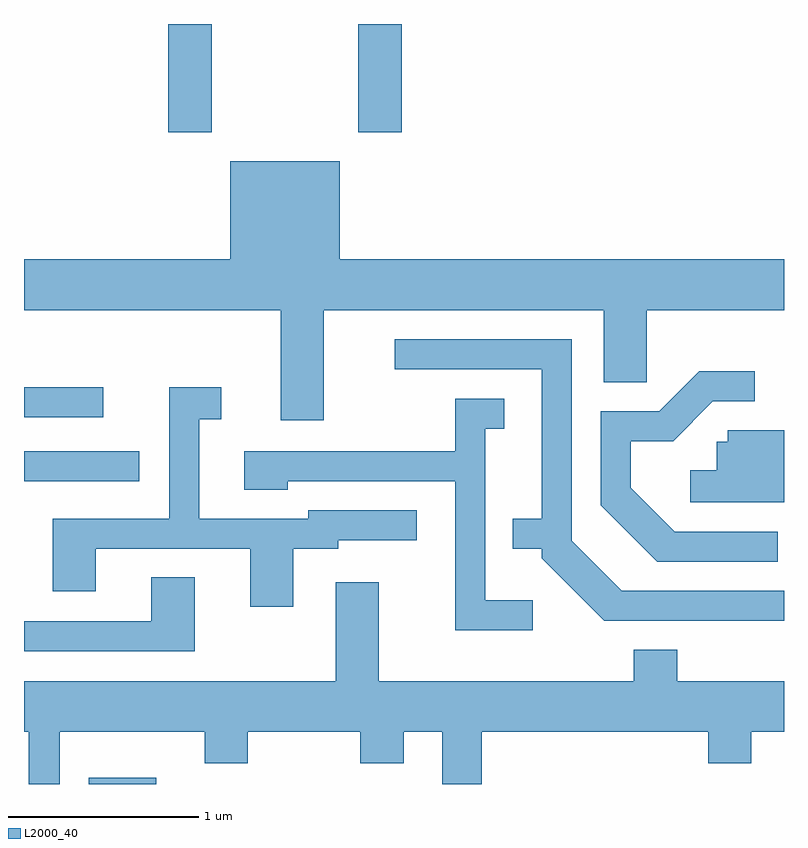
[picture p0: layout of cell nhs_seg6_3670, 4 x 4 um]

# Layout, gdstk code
import gdstk
lib = gdstk.Library(unit=1e-6, precision=1e-09)
def R(c, l, rs):  # rectangles x0, y0, x1, y1
    for r in rs: c.add(gdstk.rectangle(r[:2], r[2:], *l))
def P(c, l, *ps):  # polygons
    for p in ps: c.add(gdstk.Polygon(p, *l))
L2000_40 = (2000, 40)

nhs_seg6_3670 = lib.new_cell('nhs_seg6_3670')
R(nhs_seg6_3670, L2000_40, [(295.951,1594.162,296.308,1594.194), (295.611,1595.756,296.218,1595.914), (295.611,1596.091,296.028,1596.249), (296.371,1597.591,296.599,1598.162), (297.371,1597.591,297.599,1598.162)])
P(nhs_seg6_3670, L2000_40, [(297.189,1596.656),(298.661,1596.656),(298.661,1596.276),(298.889,1596.276),(298.889,1596.656),(299.611,1596.656),(299.611,1596.924),(297.274,1596.924),(297.274,1597.439),(296.696,1597.439),(296.696,1596.924),(295.611,1596.924),(295.611,1596.656),(296.961,1596.656),(296.961,1596.076),(297.189,1596.076)],
  [(299.611,1595.179),(298.757,1595.179),(298.494,1595.442),(298.494,1596.504),(297.563,1596.504),(297.563,1596.346),(298.336,1596.346),(298.336,1595.559),(298.183,1595.559),(298.183,1595.401),(298.336,1595.401),(298.336,1595.349),(298.664,1595.021),(299.611,1595.021)],
  [(299.578,1595.489),(299.037,1595.489),(298.804,1595.722),(298.804,1595.966),(299.027,1595.966),(299.237,1596.176),(299.458,1596.176),(299.458,1596.334),(299.164,1596.334),(298.954,1596.124),(298.646,1596.124),(298.646,1595.629),(298.944,1595.331),(299.578,1595.331)],
  [(297.029,1595.401),(297.264,1595.401),(297.264,1595.446),(297.678,1595.446),(297.678,1595.604),(297.106,1595.604),(297.106,1595.559),(296.534,1595.559),(296.534,1596.081),(296.648,1596.081),(296.648,1596.249),(296.376,1596.249),(296.376,1595.559),(295.761,1595.559),(295.761,1595.176),(295.989,1595.176),(295.989,1595.401),(296.801,1595.401),(296.801,1595.096),(297.029,1595.096)],
  [(298.288,1595.129),(298.039,1595.129),(298.039,1596.031),(298.138,1596.031),(298.138,1596.189),(297.881,1596.189),(297.881,1595.914),(296.771,1595.914),(296.771,1595.711),(296.999,1595.711),(296.999,1595.756),(297.881,1595.756),(297.881,1594.971),(298.288,1594.971)],
  [(299.611,1596.024),(299.316,1596.024),(299.316,1595.964),(299.256,1595.964),(299.256,1595.814),(299.118,1595.814),(299.118,1595.646),(299.611,1595.646)],
  [(296.509,1595.249),(296.281,1595.249),(296.281,1595.019),(295.611,1595.019),(295.611,1594.861),(296.509,1594.861)],
  [(295.799,1594.436),(296.561,1594.436),(296.561,1594.271),(296.789,1594.271),(296.789,1594.436),(297.381,1594.436),(297.381,1594.271),(297.609,1594.271),(297.609,1594.436),(297.811,1594.436),(297.811,1594.162),(298.019,1594.162),(298.019,1594.436),(299.211,1594.436),(299.211,1594.271),(299.439,1594.271),(299.439,1594.436),(299.611,1594.436),(299.611,1594.704),(299.049,1594.704),(299.049,1594.869),(298.821,1594.869),(298.821,1594.704),(297.479,1594.704),(297.479,1595.224),(297.251,1595.224),(297.251,1594.704),(295.611,1594.704),(295.611,1594.436),(295.636,1594.436),(295.636,1594.162),(295.799,1594.162)])

lib.write_gds('nhs_seg6_3670.gds')
